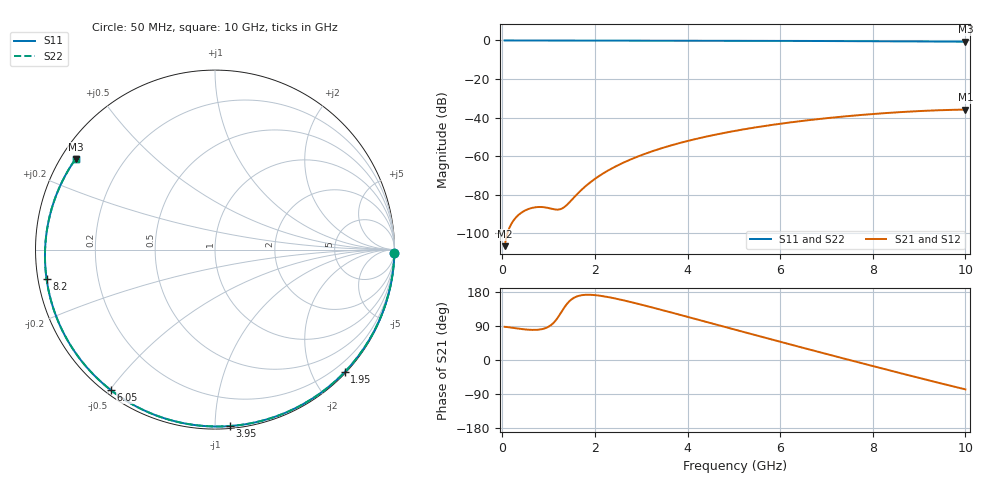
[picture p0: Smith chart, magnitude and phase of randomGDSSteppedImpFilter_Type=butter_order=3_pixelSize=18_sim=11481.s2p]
! freq	dB(S11)	phase(S11)	dB(S12)	phase(S12)
!  dB(S21)	phase(S21)	dB(S22)	phase(S22)
!S-par simulation data
#  GHz  S  DB  R 50
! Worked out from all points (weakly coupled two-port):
!   200 points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, 50 MHz to 10 GHz, reference 50 ohm
!   highest |S21| = -35.89 dB at 10 GHz (marker M1); lowest = -106.8 dB at 50 MHz (marker M2)
!   lowest |S11| = -0.7 dB at 10 GHz (marker M3), VSWR 26.29, Z = 2.07 + j14.8 ohm
!   |S11| at or under -10 dB: nowhere
!   |S22| runs from -0.7 to 0.0 dB; largest |S21 - S12| = 0
!   S11 on the Smith chart (normalised r, x): 50 MHz: open; 1.95 GHz: 0.02, -2.51; 3.95 GHz: 0.01, -1.09; 6.05 GHz: 0.02, -0.50; 8.2 GHz: 0.02, -0.09; 10 GHz: 0.04, +0.30
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0.05  -0.00 -1.2  -106.75 87.5  -106.75 87.5  -0.00 -1.2
0.8  -0.02 -18.0  -86.41 80.2  -86.41 80.2  -0.02 -18.0
1.6  -0.05 -35.8  -80.15 167.2  -80.15 167.2  -0.05 -35.8
1.75  -0.05 -39.0  -76.66 171.6  -76.66 171.6  -0.05 -39.0
1.95  -0.05 -43.4  -72.71 171.7  -72.71 171.7  -0.05 -43.4
2.25  -0.06 -49.8  -67.97 166.9  -67.97 166.9  -0.06 -49.8
2.6  -0.07 -57.3  -63.58 158.0  -63.58 158.0  -0.07 -57.3
3  -0.09 -65.7  -59.55 146.1  -59.55 146.1  -0.09 -65.7
3.4  -0.10 -74.0  -56.23 133.4  -56.23 133.4  -0.10 -74.0
3.95  -0.12 -85.1  -52.48 115.5  -52.48 115.5  -0.12 -85.1
4.5  -0.14 -96.1  -49.40 97.4  -49.40 97.4  -0.14 -96.1
5.05  -0.17 -107.0  -46.82 79.3  -46.82 79.3  -0.17 -107.0
5.55  -0.19 -116.7  -44.81 62.9  -44.81 62.9  -0.19 -116.7
6.05  -0.23 -126.5  -43.07 46.5  -43.07 46.5  -0.23 -126.5
6.7  -0.27 -139.2  -41.13 25.5  -41.13 25.5  -0.27 -139.2
7.5  -0.35 -155.3  -39.18 -0.1  -39.18 -0.1  -0.35 -155.3
8.2  -0.42 -170.0  -37.82 -22.3  -37.82 -22.3  -0.42 -170.0
8.35  -0.44 -173.3  -37.57 -27.0  -37.57 -27.0  -0.44 -173.3
8.8  -0.49 176.6  -36.90 -41.1  -36.90 -41.1  -0.49 176.6
9.2  -0.55 167.2  -36.43 -53.4  -36.43 -53.4  -0.55 167.2
9.6  -0.60 157.4  -36.08 -65.6  -36.08 -65.6  -0.60 157.4
10  -0.66 147.0  -35.89 -77.5  -35.89 -77.5  -0.66 147.0
